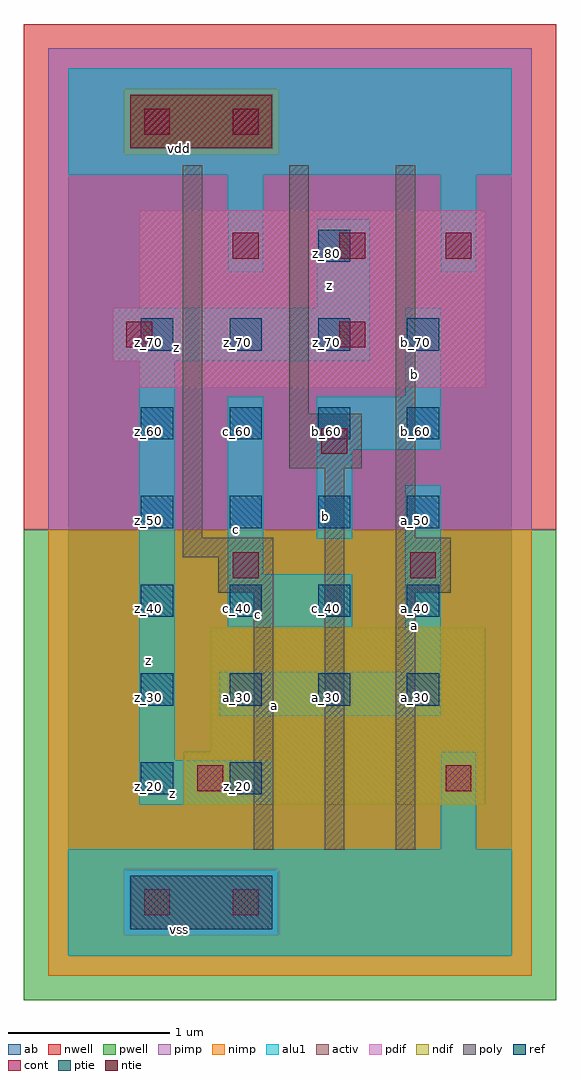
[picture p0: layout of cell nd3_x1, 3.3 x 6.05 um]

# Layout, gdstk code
import gdstk
lib = gdstk.Library(unit=1e-6, precision=2.5e-09)
def R(c, l, rs):  # rectangles x0, y0, x1, y1
    for r in rs: c.add(gdstk.rectangle(r[:2], r[2:], *l))
def A(c, l, x, y, w, h, nx, ny, dx, dy):  # array of equal rectangles
    R(c, l, [(x+i*dx, y+j*dy, x+i*dx+w, y+j*dy+h) for i in range(nx) for j in range(ny)])
ndif = (3, 0)
pdif = (4, 0)
ntie = (5, 0)
ptie = (6, 0)
ref = (24, 0)
cont = (25, 0)
pwell = (41, 0)
nwell = (42, 0)
activ = (43, 0)
pimp = (44, 0)
nimp = (45, 0)
poly = (46, 0)
alu1 = (49, 0)
ab = (63, 0)

nd3_x1 = lib.new_cell('nd3_x1')
R(nd3_x1, ndif, [(0.715,0.935,2.585,1.265), (0.88,1.265,2.585,2.035)])
R(nd3_x1, pdif, [(0.44,3.52,2.585,3.685), (0.275,3.685,2.585,4.015), (0.44,4.015,2.585,4.62)])
R(nd3_x1, ntie, [(0.385,5.005,1.265,5.335)])
R(nd3_x1, ptie, [(0.385,0.165,1.265,0.495)])
A(nd3_x1, ref, 0.45, 1.55, 0.2, 0.2, 4, 5, 0.55, 0.55)
R(nd3_x1, ref, [(0.45,1,0.65,1.2), (1,1,1.2,1.2), (1.55,4.3,1.75,4.5)])
A(nd3_x1, cont, 1.02, 4.32, 0.16, 0.16, 3, 1, 0.66, 0)
R(nd3_x1, cont, [(0.47,0.25,0.63,0.41), (1.02,0.25,1.18,0.41), (0.8,1.02,0.96,1.18), (2.34,1.02,2.5,1.18), (1.02,2.34,1.18,2.5), (2.12,2.34,2.28,2.5), (1.57,3.11,1.73,3.27), (0.36,3.77,0.52,3.93), (1.68,3.77,1.84,3.93), (0.47,5.09,0.63,5.25), (1.02,5.09,1.18,5.25)])
R(nd3_x1, pwell, [(-0.275,-0.275,3.025,2.64)])
R(nd3_x1, nwell, [(-0.275,2.64,3.025,5.775)])
R(nd3_x1, activ, [(0.385,0.165,1.265,0.495), (0.715,0.935,2.585,1.265), (0.88,1.265,2.585,2.035), (0.44,3.52,2.585,3.685), (0.275,3.685,2.585,4.015), (0.44,4.015,2.585,4.62), (0.385,5.005,1.265,5.335)])
R(nd3_x1, pimp, [(0.345,0.125,1.305,0.535), (-0.125,2.64,2.875,4.965), (-0.125,4.965,0.345,5.375), (1.305,4.965,2.875,5.375), (-0.125,5.375,2.875,5.625)])
R(nd3_x1, nimp, [(-0.125,-0.125,2.875,0.125), (-0.125,0.125,0.345,0.535), (1.305,0.125,2.875,0.535), (-0.125,0.535,2.875,2.64), (0.345,4.965,1.305,5.375)])
R(nd3_x1, poly, [(1.15,0.655,1.27,2.25), (1.59,0.655,1.71,3.02), (2.03,0.655,2.15,2.25), (0.93,2.25,1.27,2.47), (2.03,2.25,2.37,2.59), (0.71,2.47,1.27,2.59), (0.71,2.59,0.83,4.9), (2.03,2.59,2.15,4.9), (1.37,3.02,1.82,3.36), (1.37,3.36,1.49,4.9)])
R(nd3_x1, alu1, [(0,0,2.75,0.66), (2.31,0.66,2.53,1.265), (0.44,0.935,1.265,1.21), (0.44,1.21,0.66,3.685), (0.935,1.485,2.31,1.76), (2.09,1.76,2.31,2.915), (0.99,2.035,1.76,2.365), (0.99,2.365,1.21,3.465), (1.54,2.585,1.76,3.135), (1.54,3.135,2.31,3.465), (2.09,3.465,2.31,4.015), (0.275,3.685,1.87,4.015), (1.54,4.015,1.87,4.565), (0.99,4.235,1.21,4.84), (2.31,4.235,2.53,4.84), (0,4.84,2.75,5.5)])
R(nd3_x1, ab, [(0,0,2.75,5.5)])
nd3_x1.add(gdstk.Label('vss', (0.6875,0.165), layer=49, texttype=0))
nd3_x1.add(gdstk.Label('z', (0.645,1.0025), layer=49, texttype=0))
nd3_x1.add(gdstk.Label('a', (1.2775,1.5525), layer=49, texttype=0))
nd3_x1.add(gdstk.Label('a', (2.145,2.0475), layer=49, texttype=0))
nd3_x1.add(gdstk.Label('c', (1.1825,2.1175), layer=49, texttype=0))
nd3_x1.add(gdstk.Label('b', (1.595,2.7225), layer=49, texttype=0))
nd3_x1.add(gdstk.Label('c', (1.045,2.64), layer=49, texttype=0))
nd3_x1.add(gdstk.Label('b', (2.145,3.6025), layer=49, texttype=0))
nd3_x1.add(gdstk.Label('z', (0.495,1.8275), layer=49, texttype=0))
nd3_x1.add(gdstk.Label('z', (0.6725,3.7675), layer=49, texttype=0))
nd3_x1.add(gdstk.Label('z', (1.6225,4.1525), layer=49, texttype=0))
nd3_x1.add(gdstk.Label('vdd', (0.6875,5.005), layer=49, texttype=0))
nd3_x1.add(gdstk.Label('a_30', (1.05,1.6), layer=24, texttype=0))
nd3_x1.add(gdstk.Label('z_20', (1.05,1.05), layer=24, texttype=0))
nd3_x1.add(gdstk.Label('z_20', (0.5,1.05), layer=24, texttype=0))
nd3_x1.add(gdstk.Label('z_30', (0.5,1.6), layer=24, texttype=0))
nd3_x1.add(gdstk.Label('a_30', (1.6,1.6), layer=24, texttype=0))
nd3_x1.add(gdstk.Label('a_30', (2.15,1.6), layer=24, texttype=0))
nd3_x1.add(gdstk.Label('b_50', (1.6,2.7), layer=24, texttype=0))
nd3_x1.add(gdstk.Label('c_40', (1.05,2.15), layer=24, texttype=0))
nd3_x1.add(gdstk.Label('c_60', (1.05,3.25), layer=24, texttype=0))
nd3_x1.add(gdstk.Label('b_60', (2.15,3.25), layer=24, texttype=0))
nd3_x1.add(gdstk.Label('z_70', (1.6,3.8), layer=24, texttype=0))
nd3_x1.add(gdstk.Label('z_70', (1.05,3.8), layer=24, texttype=0))
nd3_x1.add(gdstk.Label('c_50', (1.05,2.7), layer=24, texttype=0))
nd3_x1.add(gdstk.Label('a_50', (2.15,2.7), layer=24, texttype=0))
nd3_x1.add(gdstk.Label('b_60', (1.6,3.25), layer=24, texttype=0))
nd3_x1.add(gdstk.Label('c_40', (1.6,2.15), layer=24, texttype=0))
nd3_x1.add(gdstk.Label('z_70', (0.5,3.8), layer=24, texttype=0))
nd3_x1.add(gdstk.Label('z_60', (0.5,3.25), layer=24, texttype=0))
nd3_x1.add(gdstk.Label('z_50', (0.5,2.7), layer=24, texttype=0))
nd3_x1.add(gdstk.Label('z_40', (0.5,2.15), layer=24, texttype=0))
nd3_x1.add(gdstk.Label('b_70', (2.15,3.8), layer=24, texttype=0))
nd3_x1.add(gdstk.Label('a_40', (2.15,2.15), layer=24, texttype=0))
nd3_x1.add(gdstk.Label('z_80', (1.6,4.35), layer=24, texttype=0))

lib.write_gds('nd3_x1.gds')
